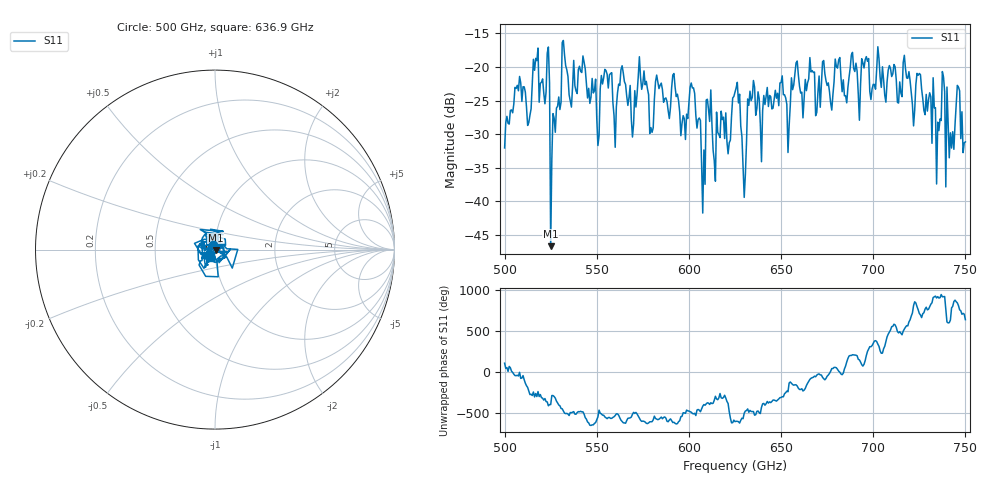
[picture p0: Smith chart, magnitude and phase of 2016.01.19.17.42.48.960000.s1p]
!Created with skrf (http://scikit-rf.org).
# GHz S RI R 50.0
!freq ReS11 ImS11
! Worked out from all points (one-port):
!   401 points, 500 GHz to 750 GHz, reference 50 ohm
!   lowest |S11| = -46.7 dB at 525 GHz (marker M1), VSWR 1.01, Z = 50.4 - j0.248 ohm
!   |S11| at or under -10 dB: start of sweep to end of sweep
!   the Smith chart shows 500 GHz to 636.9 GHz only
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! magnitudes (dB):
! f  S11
! 500 GHz  -32.0
! 506.9 GHz  -22.7
! 513.1 GHz  -28.3
! 516.9 GHz  -18.7
! 523.1 GHz  -17.9
! 525 GHz  -46.7
! 526.2 GHz  -26.9
! 531.2 GHz  -16.3
! 550 GHz  -27.6
! 562.5 GHz  -22.7
! 570 GHz  -28.5
! 574.4 GHz  -23.3
! 580 GHz  -29.7
! 583.1 GHz  -22.2
! 593.8 GHz  -24.0
! 601.9 GHz  -23.1
! 607.5 GHz  -41.7
! 610.6 GHz  -26.3
! 614.4 GHz  -37.0
! 625 GHz  -23.7
! 630 GHz  -39.4
! 634.4 GHz  -24.5
! 656.2 GHz  -23.4
! 687.5 GHz  -20.2
! 718.8 GHz  -21.7
! 742.5 GHz  -32.1
! 745.6 GHz  -22.7
! 750 GHz  -31.1
